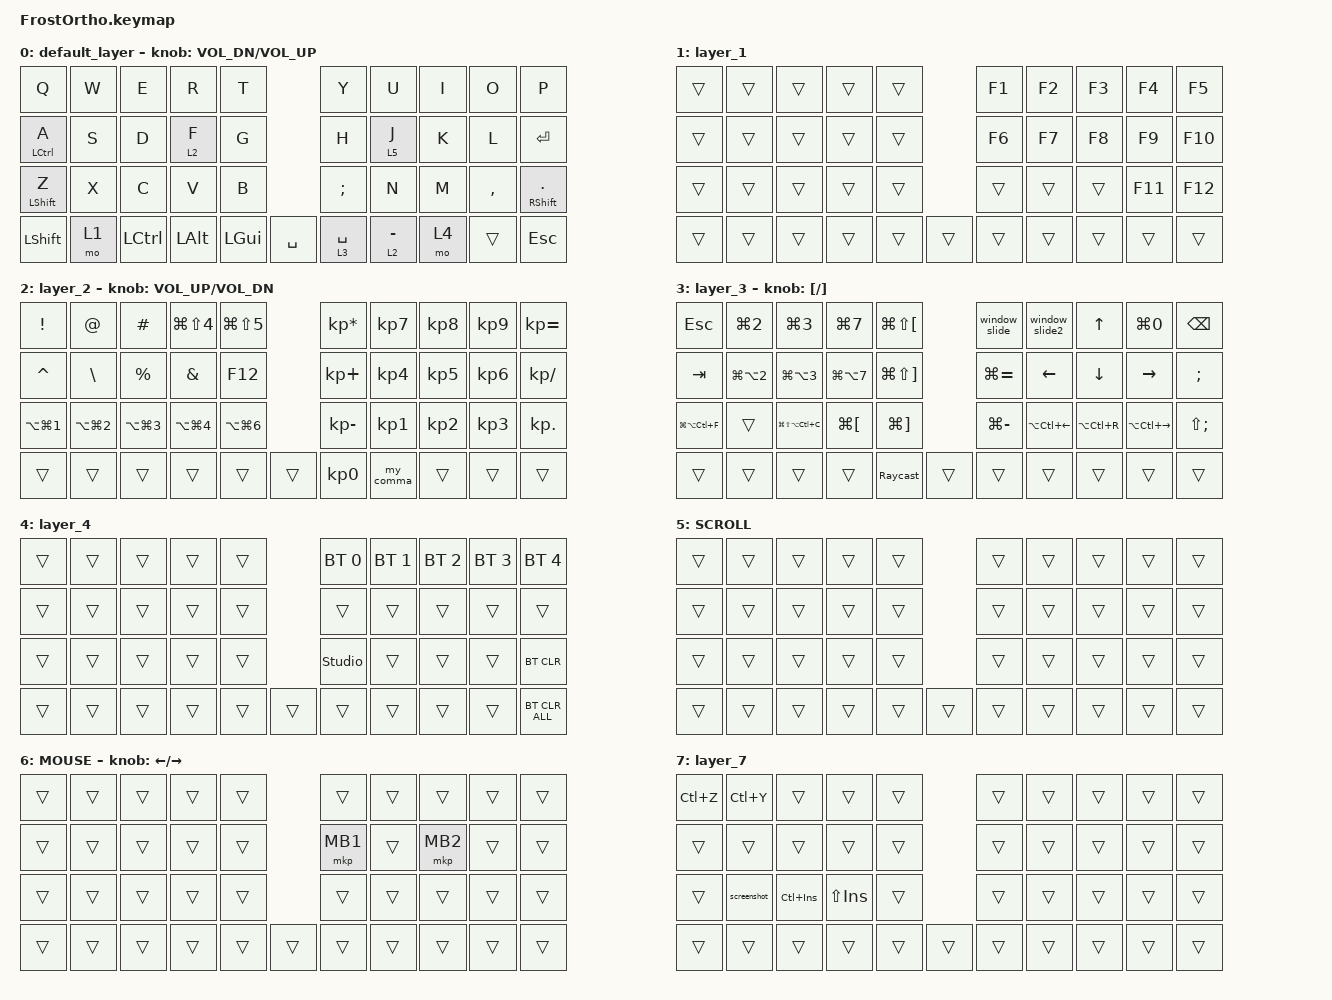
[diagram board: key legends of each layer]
#include <input/processors.dtsi>
#include <behaviors/runtime-sensor-rotate.dtsi>
#include <behaviors.dtsi>
#include <dt-bindings/zmk/bt.h>
#include <dt-bindings/zmk/keys.h>
#include <dt-bindings/zmk/pointing.h>

#define SCROLL 5
#define MOUSE 6

// ========================================
// 入力プロセッサ設定
// ========================================
/* 【修正】オートマウス遷移を停止したため zip_temp_layer の記述を削除 */
/* スクロール：Kキー長押し(SCROLLレイヤー)時のみ有効、1/8減速 */

&zip_scroll_scaler {
    layers = <SCROLL>;
    input-processors = <&zip_xy_to_scroll_mapper>, <&zip_scroll_transform 1 8>;
};

/ {
    behaviors {
        /* Kキー：A/Zキーと同じMod-Tapロジックに統一し、タイピング遅延を解消 */

        k_lt: k_lt {
            compatible = "zmk,behavior-hold-tap";
            label = "K_LT_UNIFIED";
            #binding-cells = <2>;
            flavor = "tap-preferred";
            tapping-term-ms = <200>;
            quick-tap-ms = <150>;
            require-prior-idle-ms = <150>;
            bindings = <&mo>, <&kp>;
        };

        a_mt: a_mt {
            compatible = "zmk,behavior-hold-tap";
            label = "A_MT";
            #binding-cells = <2>;
            flavor = "tap-preferred";
            tapping-term-ms = <200>;
            quick-tap-ms = <150>;
            require-prior-idle-ms = <150>;
            bindings = <&kp>, <&kp>;
        };

        z_mt: z_mt {
            compatible = "zmk,behavior-hold-tap";
            label = "Z_MT";
            #binding-cells = <2>;
            flavor = "tap-preferred";
            tapping-term-ms = <200>;
            quick-tap-ms = <150>;
            require-prior-idle-ms = <150>;
            bindings = <&kp>, <&kp>;
        };

        rsr_vol: rsr_vol {
            compatible = "zmk,behavior-runtime-sensor-rotate";
            #sensor-binding-cells = <0>;
            tap-ms = <5>;
            cw-binding = <&kp C_VOL_DN>;
            ccw-binding = <&kp C_VOL_UP>;
        };

        // エンコーダー回転をマウススクロールに変換する定義

        rot_scroll: rot_scroll {
            compatible = "zmk,behavior-sensor-rotate";
            #sensor-binding-cells = <0>;
            bindings = <&msc SCRL_UP>, <&msc SCRL_DOWN>;
        };
    };

    macros {
        myUnder: myUnder {
            compatible = "zmk,behavior-macro";
            #binding-cells = <0>;
            bindings = <&kp LANGUAGE_2>, <&macro_wait_time 15>, <&kp UNDER>;

            label = "MACRO_UNDER";
        };

        myKakko1: myKakko1 {
            compatible = "zmk,behavior-macro";
            #binding-cells = <0>;
            bindings = <&kp LPAR &kp RPAR>;
            label = "MACRO_PAREN";
        };

        myKakko2: myKakko2 {
            compatible = "zmk,behavior-macro";
            #binding-cells = <0>;
            bindings = <&kp LBKT &kp RBKT>;
            label = "MACRO_BRACKET";
        };

        myKakko3: myKakko3 {
            compatible = "zmk,behavior-macro";
            #binding-cells = <0>;
            bindings = <&kp DQT &kp DQT>;
            label = "MACRO_DQT";
        };

        num_0: num_0 {
            compatible = "zmk,behavior-macro";
            #binding-cells = <0>;
            bindings = <&kp LANGUAGE_2 &kp N0>;
            label = "N0_H";
        };

        num_1: num_1 {
            compatible = "zmk,behavior-macro";
            #binding-cells = <0>;
            bindings = <&kp LANGUAGE_2 &kp N1>;
            label = "N1_H";
        };

        num_2: num_2 {
            compatible = "zmk,behavior-macro";
            #binding-cells = <0>;
            bindings = <&kp LANGUAGE_2 &kp N2>;
            label = "N2_H";
        };

        num_3: num_3 {
            compatible = "zmk,behavior-macro";
            #binding-cells = <0>;
            bindings = <&kp LANGUAGE_2 &kp N3>;
            label = "N3_H";
        };

        num_4: num_4 {
            compatible = "zmk,behavior-macro";
            #binding-cells = <0>;
            bindings = <&kp LANGUAGE_2 &kp N4>;
            label = "N4_H";
        };

        num_5: num_5 {
            compatible = "zmk,behavior-macro";
            #binding-cells = <0>;
            bindings = <&kp LANGUAGE_2 &kp N5>;
            label = "N5_H";
        };

        num_6: num_6 {
            compatible = "zmk,behavior-macro";
            #binding-cells = <0>;
            bindings = <&kp LANGUAGE_2 &kp N6>;
            label = "N6_H";
        };

        num_7: num_7 {
            compatible = "zmk,behavior-macro";
            #binding-cells = <0>;
            bindings = <&kp LANGUAGE_2 &kp N7>;
            label = "N7_H";
        };

        num_8: num_8 {
            compatible = "zmk,behavior-macro";
            #binding-cells = <0>;
            bindings = <&kp LANGUAGE_2 &kp N8>;
            label = "N8_H";
        };

        num_9: num_9 {
            compatible = "zmk,behavior-macro";
            #binding-cells = <0>;
            bindings = <&kp LANGUAGE_2 &kp N9>;
            label = "N9_H";
        };

        screenshot: screenshot {
            compatible = "zmk,behavior-macro";
            #binding-cells = <0>;
            bindings =
                <&to 7>,
                <&macro_press>,
                <&kp LEFT_WIN &kp LEFT_SHIFT &kp S>,
                <&macro_release>,
                <&kp LEFT_WIN &kp LEFT_SHIFT &kp S>;

            label = "SCREENSHOT";
        };

        window_slide: window_slide {
            compatible = "zmk,behavior-macro";
            #binding-cells = <0>;
            bindings =
                <&kp LA(LC(LG(RIGHT_ARROW)))>,
                <&macro_wait_time 50>,
                <&kp LA(LC(RET))>;

            label = "WINDOW_SLIDE";
        };

        window_slide2: window_slide2 {
            compatible = "zmk,behavior-macro";
            #binding-cells = <0>;
            bindings =
                <&kp LC(LA(LG(LEFT_ARROW)))>,
                <&macro_wait_time 50>,
                <&kp LC(LA(R))>;

            label = "WINDOW_SLIDE2";
        };

        // ウィンドウ一覧を表示し、Altをホールドし続けるマクロ

        alt_tab_stay: alt_tab_stay {
            compatible = "zmk,behavior-macro";
            #binding-cells = <0>;
            bindings =
                <&macro_press>,
                <&kp LALT>,
                <&macro_tap>,
                <&kp TAB>,
                <&macro_pause_for_release>,
                <&macro_release>,
                <&kp LALT>;
        };

        Raycast: Raycast {
            compatible = "zmk,behavior-macro";
            #binding-cells = <0>;
            wait-ms = <10>;
            tap-ms = <10>;
            bindings =
                <&macro_press>,
                <&kp LALT &kp LCMD>,
                <&macro_tap>,
                <&kp SPACE>,
                <&macro_release>,
                <&kp LALT &kp LCMD>;
        };

        my_comma: my_comma {
            compatible = "zmk,behavior-macro";
            #binding-cells = <0>;
            bindings = <&kp LANG2 &kp COMMA>;
            label = "MY_COMMA";
        };
    };

    combos {
        compatible = "zmk,combos";
        timeout-ms = <35>;

        combo_under {
            bindings = <&myUnder>;
            key-positions = <26 27>;
        };

        combo_question {
            bindings = <&kp SLASH>;
            key-positions = <27 28>;
        };

        combo_semicolon {
            bindings = <&kp LS(SEMICOLON)>;
            key-positions = <18 19>;
        };

        combo_kakko1 {
            bindings = <&myKakko1>;
            key-positions = <6 7>;
        };

        combo_kakko2 {
            bindings = <&myKakko2>;
            key-positions = <7 8>;
        };

        combo_kakko3 {
            bindings = <&kp BACKSPACE>;
            key-positions = <8 9>;
        };

        lang1 {
            bindings = <&kp LANGUAGE_1>;
            key-positions = <16 17>;
        };

        lang2 {
            bindings = <&kp LANGUAGE_2>;
            key-positions = <17 18>;
        };

        window_right {
            bindings = <&kp LC(RIGHT_ARROW)>;
            key-positions = <13 12>;
        };

        window_left {
            bindings = <&kp LC(LEFT_ARROW)>;
            key-positions = <11 12>;
        };

        sana {
            timeout-ms = <50>;
            key-positions = <21 22>;
            bindings = <&kp LA(SPACE)>;
        };

        raycast {
            bindings = <&Raycast>;
            key-positions = <15 16>;
        };

        app_window {
            bindings = <&kp LC(DOWN_ARROW)>;
            key-positions = <>;
        };
    };

    keymap {
        compatible = "zmk,keymap";

        default_layer {
            bindings = <
&kp Q               &kp W  &kp E      &kp R         &kp T                        &kp Y        &kp U        &kp I  &kp O      &kp P
&a_mt LCTRL A       &kp S  &kp D      &lt 2 F       &kp G                        &kp H        &lt 5 J      &kp K  &kp L      &kp RET
&z_mt LEFT_SHIFT Z  &kp X  &kp C      &kp V         &kp B                        &kp SEMI     &kp N        &kp M  &kp COMMA  &mt RIGHT_SHIFT PERIOD
&kp LEFT_SHIFT      &mo 1  &kp LCTRL  &kp LEFT_ALT  &kp LEFT_GUI  &kp SPACE      &lt 3 SPACE  &lt 2 MINUS  &mo 4  &trans     &kp ESC
            >;

            sensor-bindings = <&inc_dec_kp C_VOL_DN C_VOL_UP>;
        };

        layer_1 {
            bindings = <
&trans  &trans  &trans  &trans  &trans              &kp F1  &kp F2  &kp F3  &kp F4   &kp F5
&trans  &trans  &trans  &trans  &trans              &kp F6  &kp F7  &kp F8  &kp F9   &kp F10
&trans  &trans  &trans  &trans  &trans              &trans  &trans  &trans  &kp F11  &kp F12
&trans  &trans  &trans  &trans  &trans  &trans      &trans  &trans  &trans  &trans   &trans
            >;
        };

        layer_2 {
            bindings = <
&kp EXCL              &kp AT                &kp HASH              &kp LG(LS(NUMBER_4))  &kp LG(LS(N5))                    &kp KP_ASTERISK  &kp KP_NUMBER_7  &kp KP_NUMBER_8  &kp KP_NUMBER_9  &kp KP_EQUAL
&kp CARET             &kp BSLH              &kp PERCENT           &kp AMPERSAND         &kp F12                           &kp KP_PLUS      &kp KP_NUMBER_4  &kp KP_NUMBER_5  &kp KP_NUMBER_6  &kp KP_SLASH
&kp LA(LG(NUMBER_1))  &kp LA(LG(NUMBER_2))  &kp LA(LG(NUMBER_3))  &kp LA(LG(NUMBER_4))  &kp LA(LG(NUMBER_6))              &kp KP_MINUS     &kp KP_NUMBER_1  &kp KP_NUMBER_2  &kp KP_NUMBER_3  &kp KP_DOT
&trans                &trans                &trans                &trans                &trans                &trans      &kp KP_NUMBER_0  &my_comma        &trans           &trans           &trans
            >;

            sensor-bindings = <&inc_dec_kp C_VOLUME_UP C_VOL_DN>;
        };

        layer_3 {
            bindings = <
&kp ESC            &kp LG(N2)            &kp LG(N3)             &kp LG(N7)            &kp LG(LS(LEFT_BRACKET))               &window_slide  &window_slide2          &kp UP         &kp LG(N0)               &kp BSPC
&kp TAB            &kp LG(LA(NUMBER_2))  &kp LG(LA(NUMBER_3))   &kp LG(LA(N7))        &kp LG(LS(RIGHT_BRACKET))              &kp LG(EQUAL)  &kp LEFT                &kp DOWN       &kp RIGHT                &kp SEMI
&kp LG(LA(LC(F)))  &trans                &kp LG(LS(LA(LC(C))))  &kp LG(LEFT_BRACKET)  &kp LG(RIGHT_BRACKET)                  &kp LG(MINUS)  &kp LA(LC(LEFT_ARROW))  &kp LA(LC(R))  &kp LA(LC(RIGHT_ARROW))  &kp LS(SEMI)
&trans             &trans                &trans                 &trans                &Raycast                   &trans      &trans         &trans                  &trans         &trans                   &trans
            >;

            sensor-bindings = <&inc_dec_kp LEFT_BRACKET RIGHT_BRACKET>;
        };

        layer_4 {
            bindings = <
&trans  &trans  &trans  &trans  &trans              &bt BT_SEL 0    &bt BT_SEL 1  &bt BT_SEL 2  &bt BT_SEL 3  &bt BT_SEL 4
&trans  &trans  &trans  &trans  &trans              &trans          &trans        &trans        &trans        &trans
&trans  &trans  &trans  &trans  &trans              &studio_unlock  &trans        &trans        &trans        &bt BT_CLR
&trans  &trans  &trans  &trans  &trans  &trans      &trans          &trans        &trans        &trans        &bt BT_CLR_ALL
            >;
        };

        SCROLL {
            bindings = <
&trans  &trans  &trans  &trans  &trans              &trans  &trans  &trans  &trans  &trans
&trans  &trans  &trans  &trans  &trans              &trans  &trans  &trans  &trans  &trans
&trans  &trans  &trans  &trans  &trans              &trans  &trans  &trans  &trans  &trans
&trans  &trans  &trans  &trans  &trans  &trans      &trans  &trans  &trans  &trans  &trans
            >;
        };

        MOUSE {
            bindings = <
&trans  &trans  &trans  &trans  &trans              &trans    &trans  &trans    &trans  &trans
&trans  &trans  &trans  &trans  &trans              &mkp MB1  &trans  &mkp MB2  &trans  &trans
&trans  &trans  &trans  &trans  &trans              &trans    &trans  &trans    &trans  &trans
&trans  &trans  &trans  &trans  &trans  &trans      &trans    &trans  &trans    &trans  &trans
            >;

            sensor-bindings = <&inc_dec_kp LEFT_ARROW RIGHT_ARROW>;
        };

        layer_7 {
            bindings = <
&kp LC(Z)  &kp LC(Y)    &trans       &trans       &trans              &trans  &trans  &trans  &trans  &trans
&trans     &trans       &trans       &trans       &trans              &trans  &trans  &trans  &trans  &trans
&trans     &screenshot  &kp LC(INS)  &kp LS(INS)  &trans              &trans  &trans  &trans  &trans  &trans
&trans     &trans       &trans       &trans       &trans  &trans      &trans  &trans  &trans  &trans  &trans
            >;
        };
    };
};
